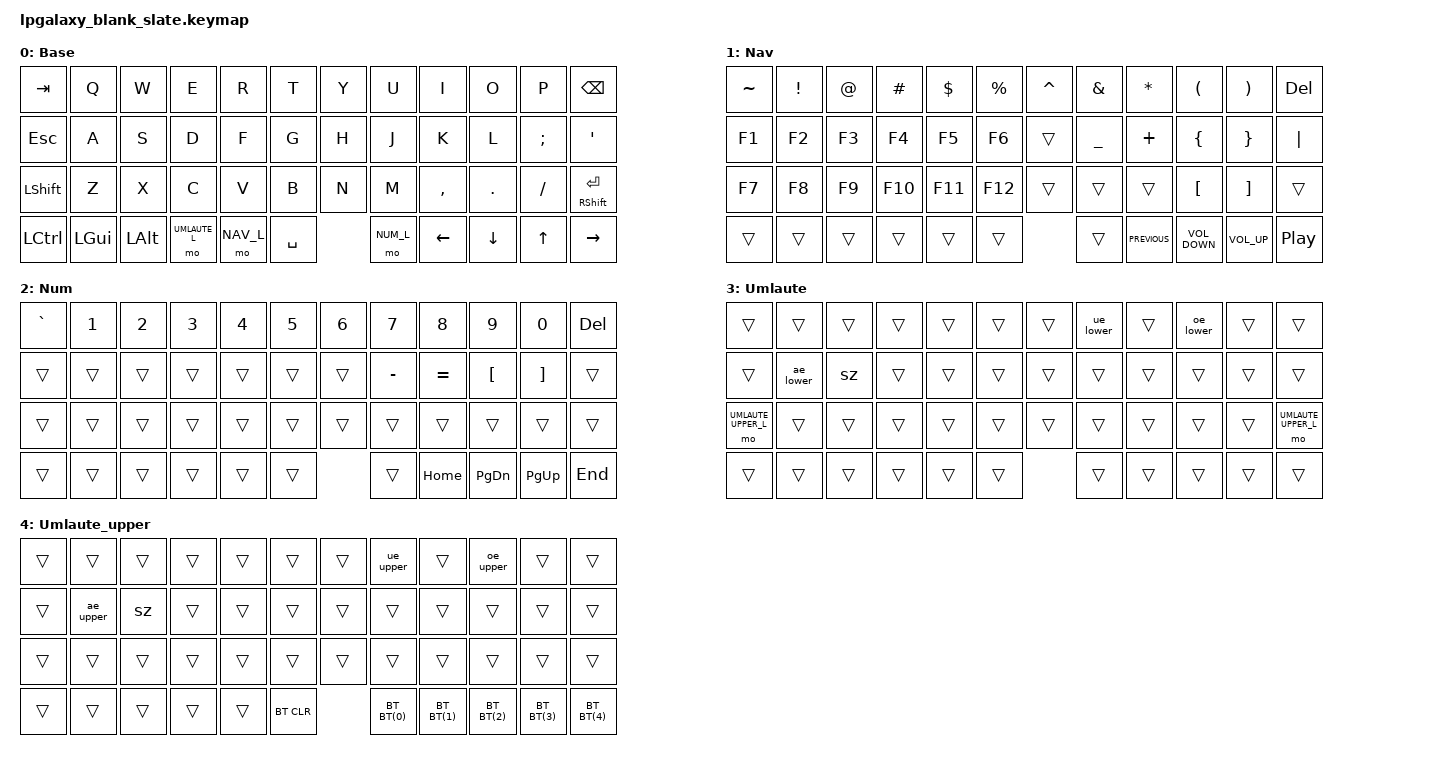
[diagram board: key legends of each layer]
/*
 * Copyright (c) 2022 Pete Johanson
 *
 * SPDX-License-Identifier: MIT
 */

#include <behaviors.dtsi>
#include <dt-bindings/zmk/keys.h>
#include <dt-bindings/zmk/bt.h>
#include <dt-bindings/zmk/outputs.h>

#define QWERTY_BASE 1

// #define TBLE_ORTHO   1
#define TBLE_MIT     1
// #define TBLE_DUAL_2U 1

#define NAV_L 1
#define NUM_L 2
#define UMLAUTE_L 3
#define UMLAUTE_UPPER_L 4

// Using layer taps on thumbs, having quick tap as well helps w/ repeating space/backspace
&lt { quick_tap_ms = <200>; };

#define BT(n) BT_SEL n

/ {
    chosen {
       zmk,matrix_transform =
#ifdef TBLE_DUAL_2U
                       &dual_2u_transform;
#elif defined(TBLE_MIT)
                       &mit_transform;
#else
                       &ortho_transform;
#endif
    };

    macros {
	sz: sz {
            compatible = "zmk,behavior-macro";
            #binding-cells = <0>;
            bindings
                = <&macro_press &kp LALT>
                , <&macro_tap &kp KP_N0 &kp KP_N2 &kp KP_N2 &kp KP_N3>
                , <&macro_release &kp LALT>
                ;
        };
	ae_lower: a_umlaute_lower {
            compatible = "zmk,behavior-macro";
            #binding-cells = <0>;
            bindings
                = <&macro_press &kp LALT>
                , <&macro_tap &kp KP_N0 &kp KP_N2 &kp KP_N2 &kp KP_N8>
                , <&macro_release &kp LALT>
                ;
        };
	oe_lower: o_umlaute_lower {
            compatible = "zmk,behavior-macro";
            #binding-cells = <0>;
            bindings
                = <&macro_press &kp LALT>
                , <&macro_tap &kp KP_N0 &kp KP_N2 &kp KP_N4 &kp KP_N6>
                , <&macro_release &kp LALT>
                ;
        };
	ue_lower: u_umlaute_lower {
            compatible = "zmk,behavior-macro";
            #binding-cells = <0>;
            bindings
                = <&macro_press &kp LALT>
                , <&macro_tap &kp KP_N0 &kp KP_N2 &kp KP_N5 &kp KP_N2>
                , <&macro_release &kp LALT>
                ;
        };
	ae_upper: a_umlaute_upper {
            compatible = "zmk,behavior-macro";
            #binding-cells = <0>;
            bindings
                = <&macro_press &kp LALT>
                , <&macro_tap &kp KP_N0 &kp KP_N1 &kp KP_N9 &kp KP_N6>
                , <&macro_release &kp LALT>
                ;
        };
	oe_upper: o_umluate_upper {
            compatible = "zmk,behavior-macro";
            #binding-cells = <0>;
            bindings
                = <&macro_press &kp LALT>
                , <&macro_tap &kp KP_N0 &kp KP_N2 &kp KP_N1 &kp KP_N4>
                , <&macro_release &kp LALT>
                ;
        };
	ue_upper: u_umlaute_upper {
            compatible = "zmk,behavior-macro";
            #binding-cells = <0>;
            bindings
                = <&macro_press &kp LALT>
                , <&macro_tap &kp KP_N0 &kp KP_N2 &kp KP_N2 &kp KP_N0>
                , <&macro_release &kp LALT>
                ;
        };
    };
    
    tap_dances {
    	shifty: shift_caps_word {
		compatible = "zmk,behavior-tap-dance";
		label = "TD_SHIFTY";
		#binding-cells = <0>;
		tapping-term-ms = <150>;
		bindings = <&kp LSHFT>, <&caps_word>;
	};
    };

    behaviors {
        hold_tap_shft_ret: hold_tap {
            compatible = "zmk,behavior-hold-tap";
            label = "HOLD_TAP";
            bindings = <&kp>, <&kp>;
            #binding-cells = <2>;
            tapping-term-ms = <200>;
        };
    };

// Conditional layer only when we have less thumb keys
#ifdef TBLE_DUAL_2U
    cond_layers {
        compatible = "zmk,conditional-layers";
	tri {
	    if-layers = <NUM_L NAV_L>;
	    then-layer = <SYM_L>;
        };
    };
#endif

    keymap {
        compatible = "zmk,keymap";

        base_layer {
            label = "Base";
            bindings = <
 &kp TAB    &kp Q      &kp W      &kp E         &kp R          &kp T          &kp Y            &kp U          &kp I       &kp O      &kp P         &kp BKSP
 &kp ESC    &kp A      &kp S      &kp D         &kp F          &kp G          &kp H            &kp J          &kp K       &kp L      &kp SEMI      &kp QUOT
 &kp LSHFT  &kp Z      &kp X      &kp C         &kp V          &kp B          &kp N            &kp M          &kp COMMA   &kp DOT    &kp FSLH      &hold_tap_shft_ret RSHFT RET
 &kp LCTRL  &kp LGUI   &kp LALT   &mo UMLAUTE_L &mo NAV_L          &kp SPACE                   &mo NUM_L      &kp LEFT    &kp DOWN   &kp UP        &kp RIGHT
            >;
        };

        nav_layer {
            label = "Nav";
            bindings = <
&kp TILDE  &kp EXCLAMATION  &kp AT_SIGN  &kp HASH   &kp DOLLAR  &kp PERCENT  &kp CARET  &kp AMPERSAND   &kp ASTERISK    &kp LEFT_PARENTHESIS  &kp RIGHT_PARENTHESIS  &kp DEL
&kp F1     &kp F2           &kp F3       &kp F4     &kp F5      &kp F6       &trans     &kp UNDERSCORE  &kp PLUS        &kp LEFT_BRACE        &kp RIGHT_BRACE        &kp PIPE
&kp F7     &kp F8           &kp F9       &kp F10    &kp F11     &kp F12      &trans     &trans          &trans          &kp LEFT_BRACKET      &kp RIGHT_BRACKET      &trans
&trans     &trans           &trans       &trans     &trans           &trans             &trans          &kp C_PREVIOUS  &kp C_VOLUME_DOWN     &kp C_VOLUME_UP        &kp C_PLAY_PAUSE
            >;
        };

        num_layer {
            label = "Num";
            bindings = <
&kp GRAVE  &kp N1     &kp N2   &kp N3  &kp N4    &kp N5     &kp N6      &kp N7     &kp N8      &kp N9            &kp N0             &kp DEL
&trans     &trans     &trans   &trans  &trans    &trans     &trans      &kp MINUS  &kp EQUAL   &kp LEFT_BRACKET  &kp RIGHT_BRACKET  &trans
&trans     &trans     &trans   &trans  &trans    &trans     &trans      &trans     &trans      &trans            &trans             &trans
&trans     &trans     &trans   &trans  &trans           &trans          &trans     &kp HOME    &kp PG_DN         &kp PG_UP          &kp END
            >;
        };

        umlaute_layer {
            label = "Umlaute";
            bindings = <
&trans              &trans     &trans    &trans    &trans    &trans    &trans    &ue_lower  &trans    &oe_lower  &trans    &trans
&trans              &ae_lower  &sz       &trans    &trans    &trans    &trans    &trans     &trans    &trans     &trans    &trans
&mo UMLAUTE_UPPER_L &trans     &trans    &trans    &trans    &trans    &trans    &trans     &trans    &trans     &trans    &mo UMLAUTE_UPPER_L
&trans              &trans     &trans    &trans    &trans         &trans         &trans     &trans    &trans     &trans    &trans
            >;
        };

        umlaute_upper_layer {
            label = "Umlaute_upper";
            bindings = <
&trans    &trans     &trans    &trans    &trans    &trans    &trans    &ue_upper  &trans    &oe_upper  &trans    &trans
&trans    &ae_upper  &sz       &trans    &trans    &trans    &trans    &trans     &trans    &trans     &trans    &trans
&trans    &trans     &trans    &trans    &trans    &trans    &trans    &trans     &trans    &trans     &trans    &trans
&trans    &trans     &trans    &trans    &trans         &bt BT_CLR     &bt BT(0)  &bt BT(1) &bt BT(2)  &bt BT(3) &bt BT(4)
            >;
        };


    };
};
